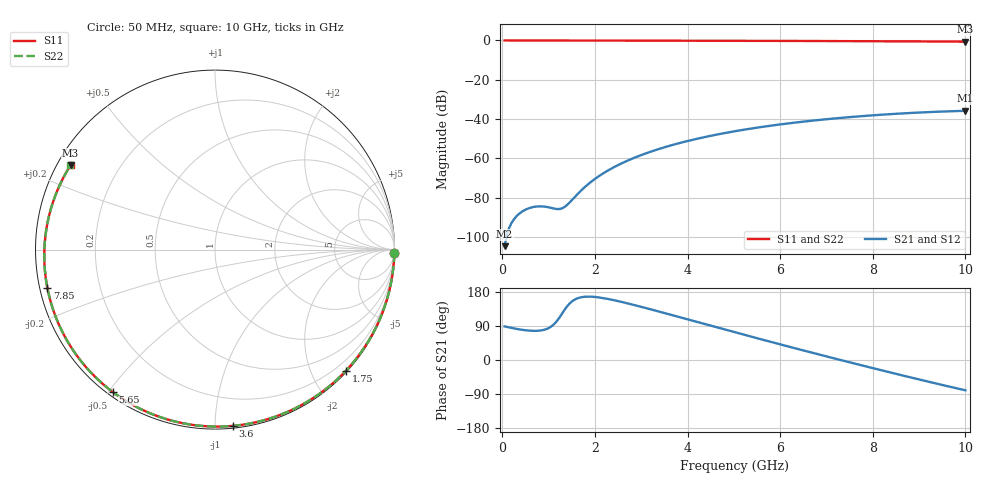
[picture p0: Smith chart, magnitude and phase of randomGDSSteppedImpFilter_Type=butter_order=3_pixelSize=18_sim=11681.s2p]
! freq	dB(S11)	phase(S11)	dB(S12)	phase(S12)
!  dB(S21)	phase(S21)	dB(S22)	phase(S22)
!S-par simulation data
#  GHz  S  DB  R 50
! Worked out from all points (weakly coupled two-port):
!   200 points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, 50 MHz to 10 GHz, reference 50 ohm
!   highest |S21| = -35.78 dB at 10 GHz (marker M1); lowest = -104.6 dB at 50 MHz (marker M2)
!   lowest |S11| = -0.6 dB at 10 GHz (marker M3), VSWR 28.43, Z = 1.89 + j13.5 ohm
!   |S11| at or under -10 dB: nowhere
!   |S22| runs from -0.6 to 0.0 dB; largest |S21 - S12| = 0
!   S11 on the Smith chart (normalised r, x): 50 MHz: 1, -94; 1.75 GHz: 0.02, -2.55; 3.6 GHz: 0.01, -1.10; 5.65 GHz: 0.01, -0.51; 7.85 GHz: 0.02, -0.11; 10 GHz: 0.04, +0.27
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0.05  -0.00 -1.2  -104.63 88.6  -104.63 88.6  -0.00 -1.2
0.45  -0.02 -11.2  -86.71 79.3  -86.71 79.3  -0.02 -11.2
0.8  -0.03 -19.8  -84.38 77.5  -84.38 77.5  -0.03 -19.8
1.55  -0.05 -38.0  -79.98 158.5  -79.98 158.5  -0.05 -38.0
1.75  -0.05 -42.8  -75.25 166.5  -75.25 166.5  -0.05 -42.7
2.05  -0.06 -49.8  -69.60 165.7  -69.60 165.7  -0.06 -49.8
2.25  -0.07 -54.4  -66.58 161.8  -66.58 161.8  -0.07 -54.4
2.45  -0.08 -59.0  -63.98 156.8  -63.98 156.8  -0.08 -59.0
2.9  -0.09 -69.1  -59.20 143.5  -59.20 143.5  -0.09 -69.1
3.4  -0.11 -80.0  -55.06 127.3  -55.06 127.3  -0.11 -80.0
3.6  -0.11 -84.3  -53.65 120.7  -53.65 120.7  -0.11 -84.3
4.3  -0.14 -98.9  -49.50 97.3  -49.50 97.3  -0.14 -98.9
5.05  -0.17 -113.9  -46.06 72.3  -46.06 72.3  -0.17 -113.9
5.65  -0.20 -125.6  -43.83 52.6  -43.83 52.6  -0.20 -125.6
6.2  -0.24 -136.1  -42.12 34.8  -42.12 34.8  -0.24 -136.1
6.7  -0.27 -145.5  -40.77 18.9  -40.77 18.9  -0.27 -145.5
7.3  -0.32 -156.8  -39.40 0.1  -39.40 0.1  -0.32 -156.8
7.85  -0.37 -167.3  -38.33 -16.9  -38.33 -16.9  -0.37 -167.2
8.35  -0.42 -176.9  -37.52 -32.0  -37.52 -32.0  -0.42 -176.8
8.8  -0.47 174.3  -36.90 -45.5  -36.90 -45.5  -0.47 174.4
9.2  -0.52 166.3  -36.44 -57.2  -36.44 -57.2  -0.52 166.4
10  -0.61 149.7  -35.78 -80.0  -35.78 -80.0  -0.61 149.8
